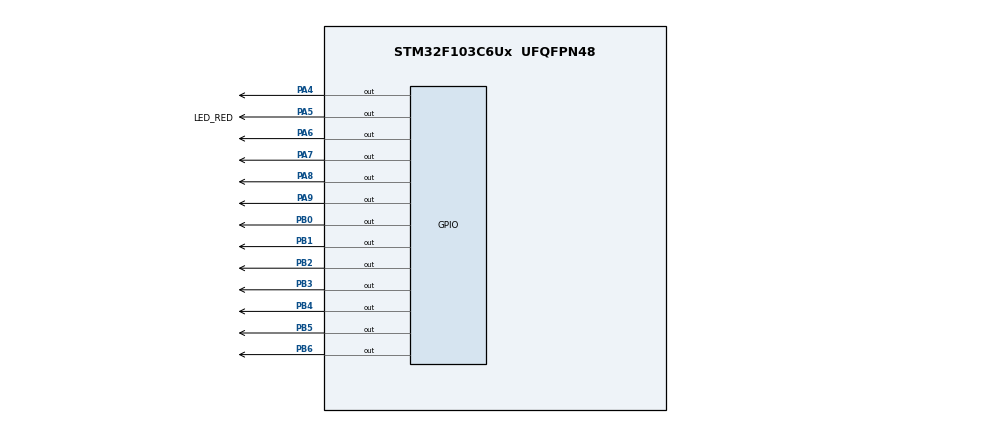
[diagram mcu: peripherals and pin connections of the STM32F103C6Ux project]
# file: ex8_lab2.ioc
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Mcu.Family=STM32F1
Mcu.Name=STM32F103C6Ux
Mcu.Package=UFQFPN48
NVIC.PriorityGroup=NVIC_PRIORITYGROUP_4
NVIC.TIM2_IRQn=true\:0\:0\:false\:false\:true\:true\:true
PA4.Signal=GPIO_Output
PA5.GPIO_Label=LED_RED
PA5.Signal=GPIO_Output
PA6.Signal=GPIO_Output
PA7.Signal=GPIO_Output
PA8.Signal=GPIO_Output
PA9.Signal=GPIO_Output
PB0.Signal=GPIO_Output
PB1.Signal=GPIO_Output
PB2.Signal=GPIO_Output
PB3.Signal=GPIO_Output
PB4.Signal=GPIO_Output
PB5.Signal=GPIO_Output
PB6.Signal=GPIO_Output
ProjectManager.HeapSize=0x200
ProjectManager.StackSize=0x400
ProjectManager.TargetToolchain=STM32CubeIDE
RCC.APB1Freq_Value=8000000
RCC.APB2Freq_Value=8000000
TIM2.Period=9
TIM2.Prescaler=7999
VP_SYS_VS_ND.Mode=No_Debug
VP_TIM2_VS_ClockSourceINT.Mode=Internal
board=custom

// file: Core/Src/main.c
/* USER CODE BEGIN Header */
/**
  ******************************************************************************
  * @file           : main.c
  * @brief          : Main program body
  ******************************************************************************
  * @attention
  *
  * <h2><center>&copy; Copyright (c) 2026 STMicroelectronics.
  * All rights reserved.</center></h2>
  *
  * This software component is licensed by ST under BSD 3-Clause license,
  * the "License"; You may not use this file except in compliance with the
  * License. You may obtain a copy of the License at:
  *                        opensource.org/licenses/BSD-3-Clause
  *
  ******************************************************************************
  */
/* USER CODE END Header */
#include "main.h"

TIM_HandleTypeDef htim2;

/* USER CODE BEGIN PV */
int hour = 15;
int minute = 8;
int second = 50;
int second_counter = 0;
/* USER CODE END PV */

void SystemClock_Config(void);
static void MX_GPIO_Init(void);
static void MX_TIM2_Init(void);

/* USER CODE BEGIN 0 */
const uint8_t segment_code[10] = {
    0x40, // 0: a,b,c,d,e,f on (g off)
    0x79, // 1: b,c on
    0x24, // 2: a,b,d,e,g on
    0x30, // 3: a,b,c,d,g on
    0x19, // 4: b,c,f,g on
    0x12, // 5: a,c,d,f,g on
    0x02, // 6: a,c,d,e,f,g on
    0x78, // 7: a,b,c on
    0x00, // 8: a,b,c,d,e,f,g on
    0x10  // 9: a,b,c,d,f,g on
};

void display7SEG(int num) {
    if (num < 0 || num > 9) return;

    uint8_t code = segment_code[num];

    HAL_GPIO_WritePin(GPIOB, GPIO_PIN_0, (code & (1 << 0)) ? GPIO_PIN_SET : GPIO_PIN_RESET);
    HAL_GPIO_WritePin(GPIOB, GPIO_PIN_1, (code & (1 << 1)) ? GPIO_PIN_SET : GPIO_PIN_RESET);
    HAL_GPIO_WritePin(GPIOB, GPIO_PIN_2, (code & (1 << 2)) ? GPIO_PIN_SET : GPIO_PIN_RESET);
    HAL_GPIO_WritePin(GPIOB, GPIO_PIN_3, (code & (1 << 3)) ? GPIO_PIN_SET : GPIO_PIN_RESET);
    HAL_GPIO_WritePin(GPIOB, GPIO_PIN_4, (code & (1 << 4)) ? GPIO_PIN_SET : GPIO_PIN_RESET);
    HAL_GPIO_WritePin(GPIOB, GPIO_PIN_5, (code & (1 << 5)) ? GPIO_PIN_SET : GPIO_PIN_RESET);
    HAL_GPIO_WritePin(GPIOB, GPIO_PIN_6, (code & (1 << 6)) ? GPIO_PIN_SET : GPIO_PIN_RESET);
}

const int MAX_LED = 4;
int index_led = 0;
int led_buffer[4] = {1, 2, 3, 4};
void update7SEG(int index){
	switch (index){
		case 0:
			//Display the first 7SEG with led_buffer[0]
			display7SEG(led_buffer[0]);
			HAL_GPIO_WritePin(GPIOA,GPIO_PIN_6,GPIO_PIN_RESET);
			index_led = 1;
			break;
		case 1:
			//Display the second 7SEG with led_buffer[1]
			display7SEG(led_buffer[1]);
			HAL_GPIO_WritePin(GPIOA,GPIO_PIN_7,GPIO_PIN_RESET);
			index_led = 2;
			break;
		case 2:
			//Display the third 7SEG with led_buffer[2]
			display7SEG(led_buffer[2]);
			HAL_GPIO_WritePin(GPIOA,GPIO_PIN_8,GPIO_PIN_RESET);
			index_led = 3;
			break;
		case 3:
			//Display the forth 7SEG with led_buffer[3]
			display7SEG(led_buffer[3]);
			HAL_GPIO_WritePin(GPIOA,GPIO_PIN_9,GPIO_PIN_RESET);
			index_led = 0;
			break;
		default:

			break;

	}
}
void updateClockBuffer() {
    led_buffer[0] = hour / 10;
    led_buffer[1] = hour % 10;
    led_buffer[2] = minute / 10;
    led_buffer[3] = minute % 10;
}

int timer_counter[3] = {0, 0, 0};
int timer_flag[3] = {0, 0, 0};
int TIMER_CYCLE = 10;
void setTimer(int index, int duration){
    timer_counter[index] = duration / TIMER_CYCLE;
    timer_flag[index] = 0;
}
void timer_run(){
    for(int i = 0; i < 3; i++){
        if(timer_counter[i] > 0){
            timer_counter[i]--;
            if(timer_counter[i] == 0) timer_flag[i] = 1;
        }
    }
}
/* USER CODE END 0 */

int main(void)
{

  /* MCU Configuration--------------------------------------------------------*/

  /* Reset of all peripherals, Initializes the Flash interface and the Systick. */
  HAL_Init();

  /* Configure the system clock */
  SystemClock_Config();

  /* Initialize all configured peripherals */
  MX_GPIO_Init();
  MX_TIM2_Init();
  /* USER CODE BEGIN 2 */

  /* USER CODE BEGIN 2 */
    updateClockBuffer();
    setTimer(0, 250);  //  LED (250ms)
    setTimer(1, 500);  // DOT (500ms)
    setTimer(2, 1000); //  Clock & LED_RED (1000ms)
    HAL_TIM_Base_Start_IT(&htim2);
  /* USER CODE END 2 */

  /* Infinite loop */
    while (1)
    {

    /* USER CODE BEGIN 3 */

        if(timer_flag[0] == 1){
            HAL_GPIO_WritePin(GPIOA,GPIO_PIN_6|GPIO_PIN_7|GPIO_PIN_8|GPIO_PIN_9, GPIO_PIN_SET);
            update7SEG(index_led);
            setTimer(0, 250);
        }
        if(timer_flag[1] == 1){
            HAL_GPIO_TogglePin(GPIOA, GPIO_PIN_4);
            setTimer(1, 500);
        }
        if(timer_flag[2] == 1){
            HAL_GPIO_TogglePin(LED_RED_GPIO_Port, LED_RED_Pin);

            second++;
            if(second >= 60) {
                second = 0;
                minute++;
            }
            if(minute >= 60) {
                minute = 0;
                hour++;
            }
            if(hour >= 24) {
                hour = 0;
            }
            updateClockBuffer();
            setTimer(2, 1000);
        }
    }
  /* USER CODE END 3 */
}

void SystemClock_Config(void)
{
  RCC_OscInitTypeDef RCC_OscInitStruct = {0};
  RCC_ClkInitTypeDef RCC_ClkInitStruct = {0};

  /** Initializes the RCC Oscillators according to the specified parameters
  * in the RCC_OscInitTypeDef structure.
  */
  RCC_OscInitStruct.OscillatorType = RCC_OSCILLATORTYPE_HSI;
  RCC_OscInitStruct.HSIState = RCC_HSI_ON;
  RCC_OscInitStruct.HSICalibrationValue = RCC_HSICALIBRATION_DEFAULT;
  RCC_OscInitStruct.PLL.PLLState = RCC_PLL_NONE;
  if (HAL_RCC_OscConfig(&RCC_OscInitStruct) != HAL_OK)
  {
    Error_Handler();
  }
  /** Initializes the CPU, AHB and APB buses clocks
  */
  RCC_ClkInitStruct.ClockType = RCC_CLOCKTYPE_HCLK|RCC_CLOCKTYPE_SYSCLK
                              |RCC_CLOCKTYPE_PCLK1|RCC_CLOCKTYPE_PCLK2;
  RCC_ClkInitStruct.SYSCLKSource = RCC_SYSCLKSOURCE_HSI;
  RCC_ClkInitStruct.AHBCLKDivider = RCC_SYSCLK_DIV1;
  RCC_ClkInitStruct.APB1CLKDivider = RCC_HCLK_DIV1;
  RCC_ClkInitStruct.APB2CLKDivider = RCC_HCLK_DIV1;

  if (HAL_RCC_ClockConfig(&RCC_ClkInitStruct, FLASH_LATENCY_0) != HAL_OK)
  {
    Error_Handler();
  }
}

static void MX_TIM2_Init(void)
{

  TIM_ClockConfigTypeDef sClockSourceConfig = {0};
  TIM_MasterConfigTypeDef sMasterConfig = {0};

  htim2.Instance = TIM2;
  htim2.Init.Prescaler = 7999;
  htim2.Init.CounterMode = TIM_COUNTERMODE_UP;
  htim2.Init.Period = 9;
  htim2.Init.ClockDivision = TIM_CLOCKDIVISION_DIV1;
  htim2.Init.AutoReloadPreload = TIM_AUTORELOAD_PRELOAD_DISABLE;
  if (HAL_TIM_Base_Init(&htim2) != HAL_OK)
  {
    Error_Handler();
  }
  sClockSourceConfig.ClockSource = TIM_CLOCKSOURCE_INTERNAL;
  if (HAL_TIM_ConfigClockSource(&htim2, &sClockSourceConfig) != HAL_OK)
  {
    Error_Handler();
  }
  sMasterConfig.MasterOutputTrigger = TIM_TRGO_RESET;
  sMasterConfig.MasterSlaveMode = TIM_MASTERSLAVEMODE_DISABLE;
  if (HAL_TIMEx_MasterConfigSynchronization(&htim2, &sMasterConfig) != HAL_OK)
  {
    Error_Handler();
  }

}

static void MX_GPIO_Init(void)
{
  GPIO_InitTypeDef GPIO_InitStruct = {0};

  /* GPIO Ports Clock Enable */
  __HAL_RCC_GPIOA_CLK_ENABLE();
  __HAL_RCC_GPIOB_CLK_ENABLE();

  /*Configure GPIO pin Output Level */
  HAL_GPIO_WritePin(GPIOA, GPIO_PIN_4|LED_RED_Pin|GPIO_PIN_6|GPIO_PIN_7
                          |GPIO_PIN_8|GPIO_PIN_9, GPIO_PIN_RESET);

  /*Configure GPIO pin Output Level */
  HAL_GPIO_WritePin(GPIOB, GPIO_PIN_0|GPIO_PIN_1|GPIO_PIN_2|GPIO_PIN_3
                          |GPIO_PIN_4|GPIO_PIN_5|GPIO_PIN_6, GPIO_PIN_RESET);

  /*Configure GPIO pins : PA4 LED_RED_Pin PA6 PA7
                           PA8 PA9 */
  GPIO_InitStruct.Pin = GPIO_PIN_4|LED_RED_Pin|GPIO_PIN_6|GPIO_PIN_7
                          |GPIO_PIN_8|GPIO_PIN_9;
  GPIO_InitStruct.Mode = GPIO_MODE_OUTPUT_PP;
  GPIO_InitStruct.Pull = GPIO_NOPULL;
  GPIO_InitStruct.Speed = GPIO_SPEED_FREQ_LOW;
  HAL_GPIO_Init(GPIOA, &GPIO_InitStruct);

  /*Configure GPIO pins : PB0 PB1 PB2 PB3
                           PB4 PB5 PB6 */
  GPIO_InitStruct.Pin = GPIO_PIN_0|GPIO_PIN_1|GPIO_PIN_2|GPIO_PIN_3
                          |GPIO_PIN_4|GPIO_PIN_5|GPIO_PIN_6;
  GPIO_InitStruct.Mode = GPIO_MODE_OUTPUT_PP;
  GPIO_InitStruct.Pull = GPIO_NOPULL;
  GPIO_InitStruct.Speed = GPIO_SPEED_FREQ_LOW;
  HAL_GPIO_Init(GPIOB, &GPIO_InitStruct);

}

/* USER CODE BEGIN 4 */
void HAL_TIM_PeriodElapsedCallback(TIM_HandleTypeDef *htim){
	if(htim->Instance == TIM2){
		timer_run();
	}

}
/* USER CODE END 4 */

void Error_Handler(void)
{
  __disable_irq();
  while (1)
  {
  }
}

/************************ (C) COPYRIGHT STMicroelectronics *****END OF FILE****/
